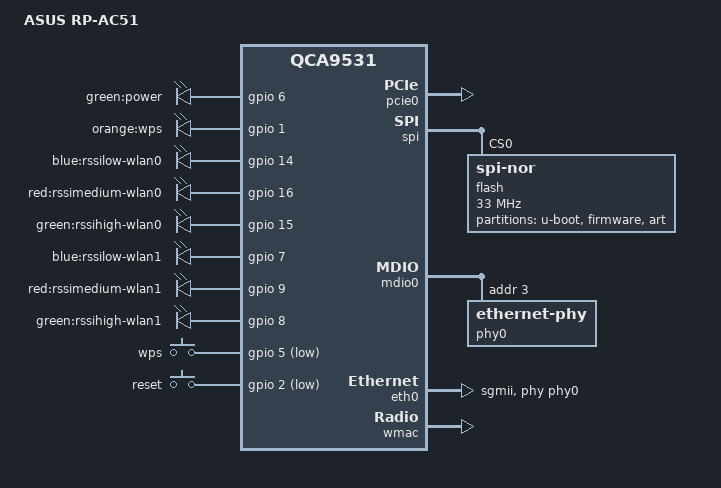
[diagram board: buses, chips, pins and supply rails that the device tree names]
// SPDX-License-Identifier: GPL-2.0-or-later OR MIT
/dts-v1/;
#include "qca953x.dtsi"

#include <dt-bindings/gpio/gpio.h>
#include <dt-bindings/input/input.h>
#include <dt-bindings/leds/common.h>

/ {
	model = "ASUS RP-AC51";
	compatible = "asus,rp-AC51", "qca,qca9531";

	aliases {
		led-boot = &led_orange;
		led-failsafe = &led_orange;
		led-running = &led_power;
		led-upgrade = &led_orange;
	};

	leds {
		compatible = "gpio-leds";

		led_power: power {
			label = "green:power";
			gpios = <&gpio 6 GPIO_ACTIVE_HIGH>;
		};

		led_orange: wps {
			label = "orange:wps";
			gpios = <&gpio 1 GPIO_ACTIVE_HIGH>;
		};

		rssilow-wlan0 {
			label = "blue:rssilow-wlan0";
			gpios = <&gpio 14 GPIO_ACTIVE_HIGH>;
		};

		rssimedium-wlan0 {
			label = "red:rssimedium-wlan0";
			gpios = <&gpio 16 GPIO_ACTIVE_HIGH>;
		};

		rssihigh-wlan0 {
			label = "green:rssihigh-wlan0";
			gpios = <&gpio 15 GPIO_ACTIVE_HIGH>;
		};

		rssilow-wlan1 {
			label = "blue:rssilow-wlan1";
			gpios = <&gpio 7 GPIO_ACTIVE_HIGH>;
		};

		rssimedium-wlan1 {
			label = "red:rssimedium-wlan1";
			gpios = <&gpio 9 GPIO_ACTIVE_HIGH>;
		};

		rssihigh-wlan1 {
			label = "green:rssihigh-wlan1";
			gpios = <&gpio 8 GPIO_ACTIVE_HIGH>;
		};
	};

	keys {
		compatible = "gpio-keys";

		wps {
			linux,code = <KEY_WPS_BUTTON>;
			gpios = <&gpio 5 GPIO_ACTIVE_LOW>;
			debounce-interval = <60>;
		};

		reset {
			linux,code = <KEY_RESTART>;
			gpios = <&gpio 2 GPIO_ACTIVE_LOW>;
			debounce-interval = <60>;
		};
	};
};

&pcie0 {
	status = "okay";
};

&spi {
	status = "okay";

	flash@0 {
		compatible = "jedec,spi-nor";
		reg = <0>;
		spi-max-frequency = <33000000>;

		partitions {
			compatible = "fixed-partitions";
			#address-cells = <1>;
			#size-cells = <1>;

			uboot: partition@0 {
				label = "u-boot";
				reg = <0x000000 0x020000>;
				read-only;
			};

			partition@20000 {
				compatible = "tplink,firmware";
				label = "firmware";
				reg = <0x020000 0xfd0000>;
			};

			art: partition@ff0000 {
				label = "art";
				reg = <0xff0000 0x010000>;
				read-only;
			};
		};
	};
};

&mdio0 {
	status = "okay";

	phy-mask = <0>;

	phy0: ethernet-phy@3 {
		reg = <0x3>;
		phy-mode = "sgmii";
		qca,mib-poll-interval = <500>;
	};
};

&eth0 {
	status = "okay";

	phy-mode = "sgmii";
	nvmem-cells = <&macaddr_art_1002>;
	nvmem-cell-names = "mac-address";
	phy-handle = <&phy0>;
};

&wmac {
	status = "okay";

	qca,no-eeprom;
};
